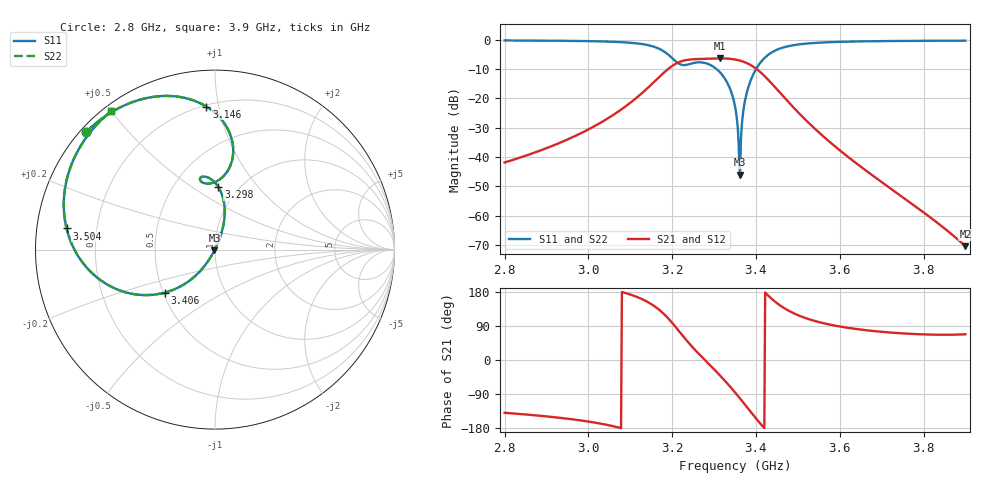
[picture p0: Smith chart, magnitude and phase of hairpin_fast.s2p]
! kicad2openems line model, qucsator (hairpin)
! ports: 1=P1, 2=P2
# Hz S RI R 50
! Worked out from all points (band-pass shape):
!   551 points, 2.8 GHz to 3.9 GHz, reference 50 ohm
!   highest |S21| = -6.36 dB at 3.314 GHz (marker M1); lowest = -70.4 dB at 3.9 GHz (marker M2)
!   |S21| within 3 dB of the highest: 3.196 GHz to 3.395 GHz (199.4 MHz wide, 6.05 % of centre)
!   lowest |S11| = -46.0 dB at 3.362 GHz (marker M3), VSWR 1.01, Z = 49.7 - j0.399 ohm
!   |S11| at or under -10 dB: 3.306 GHz to 3.4 GHz (94.18 MHz wide, 2.81 % of centre)
!   |S22| runs from -46.0 to -0.2 dB; largest |S21 - S12| = 0
!   S11 on the Smith chart (normalised r, x): 2.8 GHz: 0.02, +0.39; 3.146 GHz: 0.21, +0.92; 3.298 GHz: 0.81, +0.64; 3.406 GHz: 0.51, -0.28; 3.504 GHz: 0.09, +0.07; 3.9 GHz: 0.02, +0.50
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2.8e9  -0.72 0.6534  -0.00613 -0.00527  -0.00613 -0.00527  -0.72 0.6534
2.984e9  -0.5178 0.7975  -0.0243 -0.00894  -0.0243 -0.00894  -0.5178 0.7975
3.146e9  -0.0474 0.7966  -0.1399 0.0801  -0.1399 0.0801  -0.0474 0.7966
3.168e9  0.0513 0.7045  -0.1562 0.1651  -0.1562 0.1651  0.0513 0.7045
3.196e9  0.0974 0.5076  -0.0783 0.3317  -0.0783 0.3317  0.0974 0.5076
3.226e9  -0.0233 0.3694  0.1993 0.3905  0.1993 0.3905  -0.0233 0.3694
3.262e9  -0.0743 0.4052  0.4459 0.1457  0.4459 0.1457  -0.0743 0.4052
3.298e9  0.0186 0.3484  0.4434 -0.1805  0.4434 -0.1805  0.0186 0.3484
3.314e9  0.0478 0.2749  0.3655 -0.3129  0.3655 -0.3129  0.0478 0.2749
3.336e9  0.0493 0.1511  0.1825 -0.4381  0.1825 -0.4381  0.0493 0.1511
3.35e9  0.0279 0.0684  0.0365 -0.4592  0.0365 -0.4592  0.0279 0.0684
3.354e9  0.019 0.0445  -0.00608 -0.4548  -0.00608 -0.4548  0.019 0.0445
3.358e9  0.0087 0.0204  -0.0479 -0.4456  -0.0479 -0.4456  0.0087 0.0204
3.362e9  -0.003 -0.00402  -0.0882 -0.4317  -0.0882 -0.4317  -0.003 -0.00402
3.37e9  -0.0315 -0.0536  -0.162 -0.3903  -0.162 -0.3903  -0.0315 -0.0536
3.376e9  -0.0582 -0.091  -0.2087 -0.3489  -0.2087 -0.3489  -0.0582 -0.091
3.406e9  -0.2789 -0.2394  -0.2841 -0.0917  -0.2841 -0.0917  -0.2789 -0.2394
3.454e9  -0.6802 -0.1356  -0.1115 0.0729  -0.1115 0.0729  -0.6802 -0.1356
3.504e9  -0.827 0.118  -0.0246 0.0489  -0.0246 0.0489  -0.827 0.118
3.534e9  -0.8425 0.2388  -0.00878 0.0325  -0.00878 0.0325  -0.8425 0.2388
3.718e9  -0.7239 0.6154  0.000901 0.0029  0.000901 0.0029  -0.7239 0.6154
3.9e9  -0.5784 0.7712  0.000114 0.000281  0.000114 0.000281  -0.5784 0.7712
